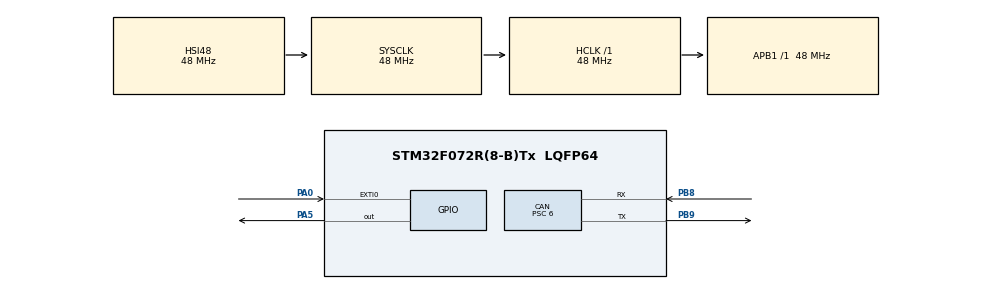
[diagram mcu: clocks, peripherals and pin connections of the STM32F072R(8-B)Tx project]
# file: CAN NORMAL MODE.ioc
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CAN.BS1=CAN_BS1_13TQ
CAN.BS2=CAN_BS2_2TQ
CAN.CalculateBaudRate=500000
CAN.CalculateTimeBit=2000
CAN.CalculateTimeQuantum=125.0
CAN.Mode=CAN_MODE_LOOPBACK
CAN.Prescaler=6
Mcu.Family=STM32F0
Mcu.Name=STM32F072R(8-B)Tx
Mcu.Package=LQFP64
NVIC.CEC_CAN_IRQn=true\:0\:0\:false\:false\:true\:true\:true\:true
NVIC.EXTI0_1_IRQn=true\:0\:0\:false\:false\:true\:true\:true\:true
PA0.Signal=GPXTI0
PA13.Mode=Serial_Wire
PA13.Signal=SYS_SWDIO
PA14.Mode=Serial_Wire
PA14.Signal=SYS_SWCLK
PA5.Signal=GPIO_Output
PB8.Mode=CAN_Activate
PB8.Signal=CAN_RX
PB9.Mode=CAN_Activate
PB9.Signal=CAN_TX
PF0-OSC_IN.Mode=HSE-External-Oscillator
PF0-OSC_IN.Signal=RCC_OSC_IN
PF1-OSC_OUT.Mode=HSE-External-Oscillator
PF1-OSC_OUT.Signal=RCC_OSC_OUT
ProjectManager.HeapSize=0x200
ProjectManager.StackSize=0x400
ProjectManager.TargetToolchain=STM32CubeIDE
RCC.AHBFreq_Value=48000000
RCC.APB1Freq_Value=48000000
RCC.APB1TimFreq_Value=48000000
RCC.HCLKFreq_Value=48000000
RCC.SYSCLKFreq_VALUE=48000000
RCC.SYSCLKSource=RCC_SYSCLKSOURCE_HSI48
board=custom

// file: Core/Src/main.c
/* USER CODE BEGIN Header */
/**
  ******************************************************************************
  * @file           : main.c
  * @brief          : Main program body
  ******************************************************************************
  * @attention
  *
  * Copyright (c) 2023 STMicroelectronics.
  * All rights reserved.
  *
  * This software is licensed under terms that can be found in the LICENSE file
  * in the root directory of this software component.
  * If no LICENSE file comes with this software, it is provided AS-IS.
  *
  ******************************************************************************
  */
/* USER CODE END Header */
#include "main.h"

CAN_HandleTypeDef hcan;

void SystemClock_Config(void);
static void MX_GPIO_Init(void);
static void MX_CAN_Init(void);

/* USER CODE BEGIN 0 */
CAN_TxHeaderTypeDef TxHeader;
CAN_RxHeaderTypeDef RxHeader;

uint8_t RxData[8];
uint8_t TxData[8];

uint32_t TxMailBox;

int datacheck = 0 ;
int x=0;
void HAL_GPIO_EXTI_Callback(uint16_t GPIO_Pin){

	if (GPIO_Pin == GPIO_PIN_0)
    {
		TxData[0] = 100; //Delay
		TxData[1] = 10; //loop

		if (HAL_OK == HAL_CAN_AddTxMessage(&hcan, &TxHeader, TxData, &TxMailBox))
		{
			x++;
		}
	}
}
void HAL_CAN_RxFifo1MsgPendingCallback(CAN_HandleTypeDef *hcan)
{
	HAL_CAN_GetRxMessage(hcan, CAN_RX_FIFO1, &RxHeader, RxData);
	if( RxHeader.DLC == 2)
	{
		datacheck = 1;
	}
}
/* USER CODE END 0 */

int main(void)
{

  /* MCU Configuration--------------------------------------------------------*/

  /* Reset of all peripherals, Initializes the Flash interface and the Systick. */
  HAL_Init();

  /* Configure the system clock */
  SystemClock_Config();

  /* Initialize all configured peripherals */
  MX_GPIO_Init();
  MX_CAN_Init();
  /* USER CODE BEGIN 2 */
HAL_CAN_Start(&hcan);
//activate notification
HAL_CAN_ActivateNotification(&hcan, CAN_IT_RX_FIFO1_MSG_PENDING);
TxHeader.DLC=2;
TxHeader.IDE = CAN_ID_STD;
TxHeader.RTR = CAN_RTR_DATA;
TxHeader.StdId = 0x446;
  /* USER CODE END 2 */

  /* Infinite loop */
  while (1)
  {

  }
}

void SystemClock_Config(void)
{
  RCC_OscInitTypeDef RCC_OscInitStruct = {0};
  RCC_ClkInitTypeDef RCC_ClkInitStruct = {0};

  /** Initializes the RCC Oscillators according to the specified parameters
  * in the RCC_OscInitTypeDef structure.
  */
  RCC_OscInitStruct.OscillatorType = RCC_OSCILLATORTYPE_HSI48;
  RCC_OscInitStruct.HSI48State = RCC_HSI48_ON;
  RCC_OscInitStruct.PLL.PLLState = RCC_PLL_NONE;
  if (HAL_RCC_OscConfig(&RCC_OscInitStruct) != HAL_OK)
  {
    Error_Handler();
  }

  /** Initializes the CPU, AHB and APB buses clocks
  */
  RCC_ClkInitStruct.ClockType = RCC_CLOCKTYPE_HCLK|RCC_CLOCKTYPE_SYSCLK
                              |RCC_CLOCKTYPE_PCLK1;
  RCC_ClkInitStruct.SYSCLKSource = RCC_SYSCLKSOURCE_HSI48;
  RCC_ClkInitStruct.AHBCLKDivider = RCC_SYSCLK_DIV1;
  RCC_ClkInitStruct.APB1CLKDivider = RCC_HCLK_DIV1;

  if (HAL_RCC_ClockConfig(&RCC_ClkInitStruct, FLASH_LATENCY_1) != HAL_OK)
  {
    Error_Handler();
  }
}

static void MX_CAN_Init(void)
{

  hcan.Instance = CAN;
  hcan.Init.Prescaler = 6;
  hcan.Init.Mode = CAN_MODE_LOOPBACK;
  hcan.Init.SyncJumpWidth = CAN_SJW_1TQ;
  hcan.Init.TimeSeg1 = CAN_BS1_13TQ;
  hcan.Init.TimeSeg2 = CAN_BS2_2TQ;
  hcan.Init.TimeTriggeredMode = DISABLE;
  hcan.Init.AutoBusOff = DISABLE;
  hcan.Init.AutoWakeUp = DISABLE;
  hcan.Init.AutoRetransmission = DISABLE;
  hcan.Init.ReceiveFifoLocked = DISABLE;
  hcan.Init.TransmitFifoPriority = DISABLE;
  if (HAL_CAN_Init(&hcan) != HAL_OK)
  {
    Error_Handler();
  }
  /* USER CODE BEGIN CAN_Init 2 */
  CAN_FilterTypeDef canfilterconfig;
   canfilterconfig.FilterActivation = CAN_FILTER_ENABLE;
   canfilterconfig.FilterBank = 10;
   canfilterconfig.FilterFIFOAssignment = CAN_RX_FIFO1;
   canfilterconfig.FilterIdHigh = 0;
   canfilterconfig.FilterIdLow = 0x0000;
   canfilterconfig.FilterMaskIdHigh = 0;
   canfilterconfig.FilterMaskIdLow = 0x0000;
   canfilterconfig.FilterMode = CAN_FILTERMODE_IDMASK;
   canfilterconfig.FilterScale = CAN_FILTERSCALE_32BIT;
   canfilterconfig.SlaveStartFilterBank = 0;

   HAL_CAN_ConfigFilter(&hcan, &canfilterconfig);

  /* USER CODE END CAN_Init 2 */

}

static void MX_GPIO_Init(void)
{
  GPIO_InitTypeDef GPIO_InitStruct = {0};

  /* GPIO Ports Clock Enable */
  __HAL_RCC_GPIOF_CLK_ENABLE();
  __HAL_RCC_GPIOA_CLK_ENABLE();
  __HAL_RCC_GPIOB_CLK_ENABLE();

  /*Configure GPIO pin Output Level */
  HAL_GPIO_WritePin(GPIOA, GPIO_PIN_5, GPIO_PIN_RESET);

  /*Configure GPIO pin : PA0 */
  GPIO_InitStruct.Pin = GPIO_PIN_0;
  GPIO_InitStruct.Mode = GPIO_MODE_IT_RISING;
  GPIO_InitStruct.Pull = GPIO_NOPULL;
  HAL_GPIO_Init(GPIOA, &GPIO_InitStruct);

  /*Configure GPIO pin : PA5 */
  GPIO_InitStruct.Pin = GPIO_PIN_5;
  GPIO_InitStruct.Mode = GPIO_MODE_OUTPUT_PP;
  GPIO_InitStruct.Pull = GPIO_NOPULL;
  GPIO_InitStruct.Speed = GPIO_SPEED_FREQ_LOW;
  HAL_GPIO_Init(GPIOA, &GPIO_InitStruct);

  /* EXTI interrupt init*/
  HAL_NVIC_SetPriority(EXTI0_1_IRQn, 0, 0);
  HAL_NVIC_EnableIRQ(EXTI0_1_IRQn);

}

void Error_Handler(void)
{
  __disable_irq();
  while (1)
  {
  }
}
